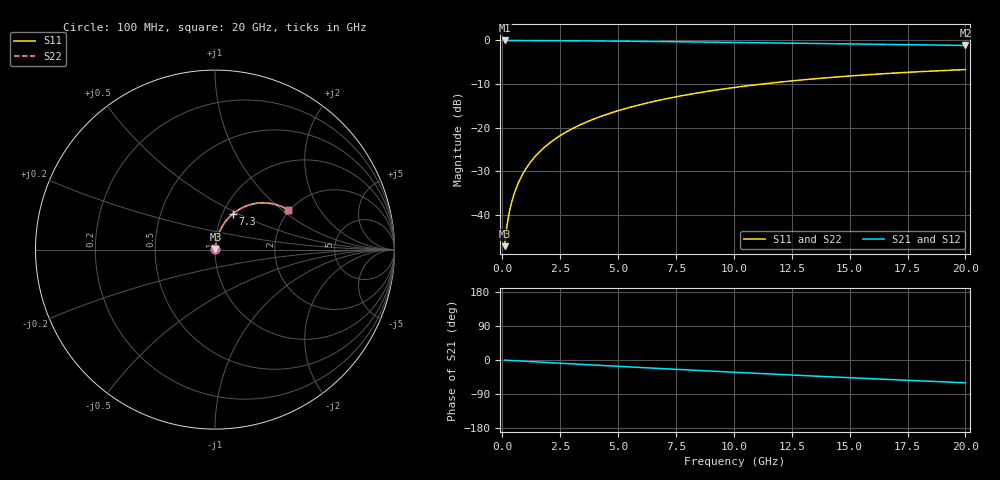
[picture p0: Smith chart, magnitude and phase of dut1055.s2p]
! Touchstone file exported from HFSS 2026.1.0
!  File:  C:/ffzhzh/LocalFiles/Ansys_Project_Files/temp_train_TMRDL_1055_1783160433_51560.aedt
!  Generated:  06:21:55 PM Jul  4, 2026
!  Design:  TMRDL
!  Project:  temp_train_TMRDL_1055_1783160433_51560
! Variables:
!  h_bsmrdl = 2um
!  h_ox = 20um
!  h_rdl = 5um
!  h_sub = 80um
!  h_tmrdl = 5.7um
!  h_tsv = 80um
!  h_via = 3um
!  l_bsmrdl = 300um
!  l_sub = 1362.77um
!  l_tmrdl = 962.77um
!  m_sub = 200um
!  pitch = 55.76um
!  r_tsv = 6um
!  s_tmrdl = 10um
!  w_bsmrdl = 18um
!  w_sub = 500um
!  w_tmrdl = 25.5um
!  x_tsv_center1 = 975.52um
!  x_tsv_center2 = 1293.52um
!  x_tsv_center3 = 2281.79um
!  x_tsv_center4 = 2599.79um
!  x_tsv_center5 = 3588.06um
!  x_tsv_center6 = 3906.06um
# GHz S MA R 50.000000
! Terminal data exported
! Port[1] = TM_RDL1_1_T1
! Port[2] = TM_RDL1_1_T2
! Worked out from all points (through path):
!   200 points, 100 MHz to 20 GHz, reference 50 ohm
!   highest |S21| = -0.02 dB at 100 MHz (marker M1); lowest = -1.2 dB at 20 GHz (marker M2)
!   group delay of S21, straight-line fit = 8.34 ps
!   lowest |S11| = -47.1 dB at 100 MHz (marker M3), VSWR 1.01, Z = 50.3 + j0.359 ohm
!   |S11| at or under -10 dB: start of sweep to 11.22 GHz
!   |S22| runs from -47.1 to -6.7 dB; largest |S21 - S12| = 8.9e-15
!   S11 on the Smith chart (normalised r, x): 100 MHz: 1.01, +0.01; 7.3 GHz: 1.12, +0.46; 20 GHz: 1.96, +1.10
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0.1  0.004404 54.1  0.9974 -0.4  0.9974 -0.4  0.004404 54.1
! Gamma 0 0 0 0
! Port Impedance 50 0 50 0
0.2  0.007529 67.7  0.9972 -0.7  0.9972 -0.7  0.007529 67.7
0.3  0.01071 73.0  0.997 -1.0  0.997 -1.0  0.01071 73.0
0.4  0.01391 75.8  0.9969 -1.4  0.9969 -1.4  0.01391 75.8
0.5  0.01711 77.6  0.9967 -1.7  0.9967 -1.7  0.01711 77.6
0.7  0.02357 79.5  0.9964 -2.4  0.9964 -2.4  0.02357 79.5
1  0.03329 80.5  0.9959 -3.4  0.9959 -3.4  0.03329 80.5
1.2  0.03977 80.5  0.9955 -4.1  0.9955 -4.1  0.03977 80.5
1.4  0.04623 80.4  0.9951 -4.8  0.9951 -4.8  0.04623 80.4
1.7  0.05587 79.9  0.9943 -5.8  0.9943 -5.8  0.05587 79.9
2  0.06545 79.3  0.9934 -6.8  0.9934 -6.8  0.06545 79.3
2.7  0.08747 77.4  0.9909 -9.1  0.9909 -9.1  0.08747 77.4
3.5  0.1121 75.1  0.9876 -11.8  0.9876 -11.8  0.1121 75.1
4.2  0.1331 73.0  0.9843 -14.1  0.9843 -14.1  0.1331 73.0
5  0.1565 70.6  0.9801 -16.7  0.9801 -16.7  0.1565 70.5
6.8  0.207 65.1  0.9695 -22.4  0.9695 -22.4  0.207 65.1
7.3  0.2205 63.6  0.9663 -24.0  0.9663 -24.0  0.2205 63.6
8.6  0.2542 59.8  0.9574 -28.0  0.9574 -28.0  0.2542 59.8
10.1  0.2907 55.4  0.9465 -32.6  0.9465 -32.6  0.2907 55.4
13.4  0.3615 46.0  0.9212 -42.3  0.9212 -42.3  0.3615 46.0
16.7  0.4187 37.1  0.8965 -51.4  0.8965 -51.4  0.4187 37.1
20  0.4629 28.6  0.8746 -60.1  0.8746 -60.1  0.463 28.5
